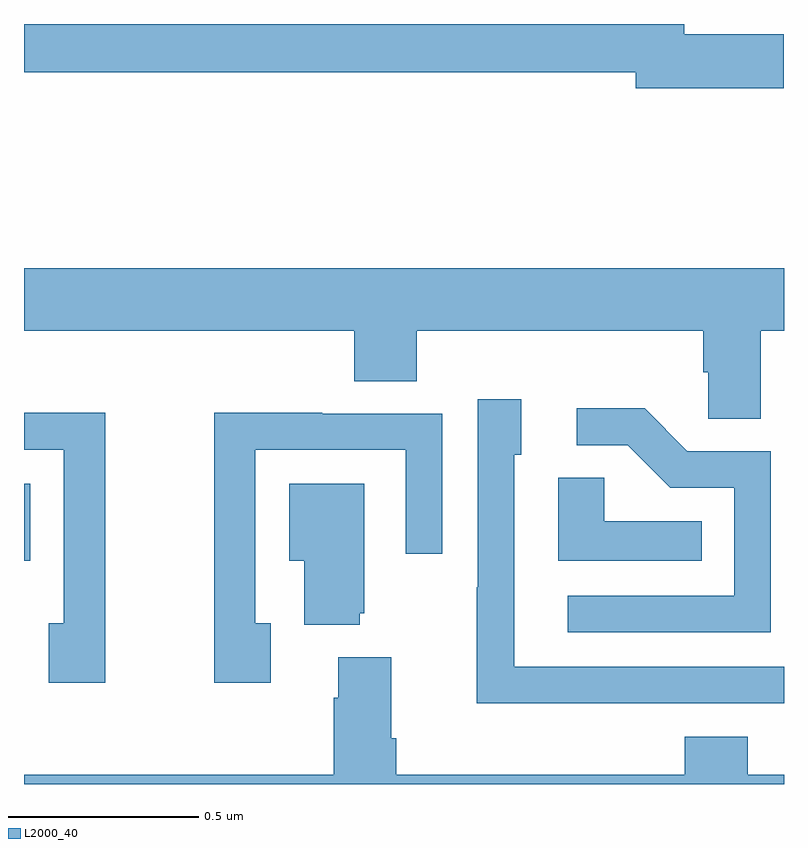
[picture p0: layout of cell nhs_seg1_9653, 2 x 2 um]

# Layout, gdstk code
import gdstk
lib = gdstk.Library(unit=1e-6, precision=1e-09)
def R(c, l, rs):  # rectangles x0, y0, x1, y1
    for r in rs: c.add(gdstk.rectangle(r[:2], r[2:], *l))
def P(c, l, *ps):  # polygons
    for p in ps: c.add(gdstk.Polygon(p, *l))
L2000_40 = (2000, 40)

nhs_seg1_9653 = lib.new_cell('nhs_seg1_9653')
R(nhs_seg1_9653, L2000_40, [(231,557.786,231.016,557.989)])
P(nhs_seg1_9653, L2000_40, [(232.999,559.172),(232.738,559.172),(232.738,559.199),(231,559.199),(231,559.072),(232.61,559.072),(232.61,559.03),(232.999,559.03)],
  [(232.939,558.392),(233,558.392),(233,558.556),(231,558.556),(231,558.392),(231.869,558.392),(231.869,558.259),(232.034,558.259),(232.034,558.392),(232.787,558.392),(232.787,558.283),(232.8,558.283),(232.8,558.16),(232.939,558.16)],
  [(232.655,557.412),(233,557.412),(233,557.508),(232.29,557.508),(232.29,558.066),(232.309,558.066),(232.309,558.211),(232.194,558.211),(232.194,557.717),(232.192,557.717),(232.192,557.411),(232.655,557.411)],
  [(232.965,558.075),(232.746,558.075),(232.633,558.188),(232.455,558.188),(232.455,558.09),(232.589,558.09),(232.7,557.979),(232.869,557.979),(232.869,557.694),(232.431,557.694),(232.431,557.598),(232.965,557.598)],
  [(231.214,558.176),(231,558.176),(231,558.078),(231.105,558.078),(231.105,557.622),(231.065,557.622),(231.065,557.466),(231.214,557.466)],
  [(231.649,557.622),(231.609,557.622),(231.609,558.078),(232.005,558.078),(232.005,557.805),(232.101,557.805),(232.101,558.174),(231.785,558.174),(231.785,558.176),(231.501,558.176),(231.501,557.466),(231.649,557.466)],
  [(232.784,557.89),(232.527,557.89),(232.527,558.005),(232.406,558.005),(232.406,557.786),(232.784,557.786)],
  [(231.884,557.649),(231.895,557.649),(231.895,557.989),(231.698,557.989),(231.698,557.786),(231.737,557.786),(231.737,557.618),(231.884,557.618)],
  [(233,557.224),(232.904,557.224),(232.904,557.323),(232.739,557.323),(232.739,557.224),(231.98,557.224),(231.98,557.32),(231.967,557.32),(231.967,557.533),(231.827,557.533),(231.827,557.426),(231.815,557.426),(231.815,557.224),(231,557.224),(231,557.199),(233,557.199)])

lib.write_gds('nhs_seg1_9653.gds')
